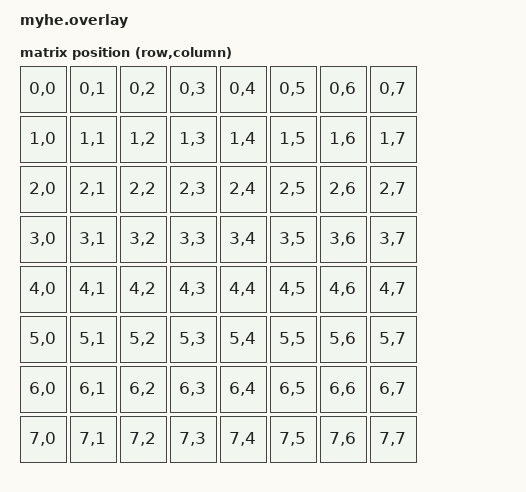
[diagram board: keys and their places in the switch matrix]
/*
* Copyright (c) 2025 Joomin97
*
* SPDX-License-Identifier: MIT
*/

#include <dt-bindings/zmk/matrix_transform.h>
#include <dt-bindings/input/input-event-codes.h>
#include <dt-bindings/pinctrl/rpi-pico-rp2040-pinctrl.h>

/ {
    chosen {
        zmk,kscan = &kscan0;
        zmk,matrix_transform = &default_transform;
    };

    default_transform: keymap_transform_0 {
        compatible = "zmk,matrix-transform";
        columns = <8>;
        rows = <8>;
        map = <
            RC(0,0) RC(0,1) RC(0,2) RC(0,3) RC(0,4) RC(0,5) RC(0,6) RC(0,7)
            RC(1,0) RC(1,1) RC(1,2) RC(1,3) RC(1,4) RC(1,5) RC(1,6) RC(1,7)
            RC(2,0) RC(2,1) RC(2,2) RC(2,3) RC(2,4) RC(2,5) RC(2,6) RC(2,7)
            RC(3,0) RC(3,1) RC(3,2) RC(3,3) RC(3,4) RC(3,5) RC(3,6) RC(3,7)
            RC(4,0) RC(4,1) RC(4,2) RC(4,3) RC(4,4) RC(4,5) RC(4,6) RC(4,7)
            RC(5,0) RC(5,1) RC(5,2) RC(5,3) RC(5,4) RC(5,5) RC(5,6) RC(5,7)
            RC(6,0) RC(6,1) RC(6,2) RC(6,3) RC(6,4) RC(6,5) RC(6,6) RC(6,7)
            RC(7,0) RC(7,1) RC(7,2) RC(7,3) RC(7,4) RC(7,5) RC(7,6) RC(7,7)            
        >;
    };

    mux_hc4067:hc4067 {
        compatible = "io-expander-mux";
        #address-cells = <1>;
        #size-cells = <0>;
        select-gpios = <&gpio0 0 GPIO_ACTIVE_HIGH>, //S0 -> GP0
                <&gpio0 1 GPIO_ACTIVE_HIGH>, //S1 -> GP1
                <&gpio0 2 GPIO_ACTIVE_HIGH>, //S2 -> GP2
                <&gpio0 3 GPIO_ACTIVE_HIGH>; //S3 -> GP3
    };

    adc_channels {
        compatible = "zmk,adc-channels";
        #address-cells = <1>;
        #size-cells = <0>;

        chan0:channel_0 {
            label = "ADC_0_MUX_0";
            zephyr.adc = <&adc>;
            zephyr.channel-id = <0>; //ADC0 -> GP26
        };
        chan1:channel_1 {
            label = "ADC_1_MUX_1";
            zephyr.adc = <&adc>;
            zephyr.channel-id = <1>; //ADC1 -> GP27
        };
        chan2:channel_2 {
            label = "ADC_2_MUX_2";
            zephyr.adc = <&adc>;
            zephyr.channel-id = <2>; //ADC2 -> GP28
        };
        chan3:channel_3 {
            label = "ADC_3_MUX_3";
            zephyr.adc = <&adc>;
            zephyr.channel-id = <3>; //ADC3 -> GP29
        };
    };

    kscan0:kscan {
        compatible = "zmk,kscan-gpio-matrix";
        trigger-level-mv = <1800>;

        r0c0 {mux = <&mux_hc4067 0>; channels = <&chan0>; row = <0>; col = <0>;};
        r0c1 {mux = <&mux_hc4067 1>; channels = <&chan0>; row = <0>; col = <1>;};
        r0c2 {mux = <&mux_hc4067 2>; channels = <&chan0>; row = <0>; col = <2>;};
        r0c3 {mux = <&mux_hc4067 3>; channels = <&chan0>; row = <0>; col = <3>;};
        r0c4 {mux = <&mux_hc4067 4>; channels = <&chan0>; row = <0>; col = <4>;};
        r0c5 {mux = <&mux_hc4067 5>; channels = <&chan0>; row = <0>; col = <5>;};
        r0c6 {mux = <&mux_hc4067 6>; channels = <&chan0>; row = <0>; col = <6>;};
        r0c7 {mux = <&mux_hc4067 7>; channels = <&chan0>; row = <0>; col = <7>;};
        r1c0 {mux = <&mux_hc4067 8>; channels = <&chan0>; row = <1>; col = <0>;};
        r1c1 {mux = <&mux_hc4067 9>; channels = <&chan0>; row = <1>; col = <1>;};
        r1c2 {mux = <&mux_hc4067 10>; channels = <&chan0>; row = <1>; col = <2>;};
        r1c3 {mux = <&mux_hc4067 11>; channels = <&chan0>; row = <1>; col = <3>;};
        r1c4 {mux = <&mux_hc4067 12>; channels = <&chan0>; row = <1>; col = <4>;};
        r1c5 {mux = <&mux_hc4067 13>; channels = <&chan0>; row = <1>; col = <5>;};
        r1c6 {mux = <&mux_hc4067 14>; channels = <&chan0>; row = <1>; col = <6>;};
        r1c7 {mux = <&mux_hc4067 15>; channels = <&chan0>; row = <1>; col = <7>;};

        r2c0 {mux = <&mux_hc4067 0>; channels = <&chan1>; row = <2>; col = <0>;};
        r2c1 {mux = <&mux_hc4067 1>; channels = <&chan1>; row = <2>; col = <1>;};
        r2c2 {mux = <&mux_hc4067 2>; channels = <&chan1>; row = <2>; col = <2>;};
        r2c3 {mux = <&mux_hc4067 3>; channels = <&chan1>; row = <2>; col = <3>;};
        r2c4 {mux = <&mux_hc4067 4>; channels = <&chan1>; row = <2>; col = <4>;};
        r2c5 {mux = <&mux_hc4067 5>; channels = <&chan1>; row = <2>; col = <5>;};
        r2c6 {mux = <&mux_hc4067 6>; channels = <&chan1>; row = <2>; col = <6>;};
        r2c7 {mux = <&mux_hc4067 7>; channels = <&chan1>; row = <2>; col = <7>;};
        r3c0 {mux = <&mux_hc4067 8>; channels = <&chan1>; row = <3>; col = <0>;};
        r3c1 {mux = <&mux_hc4067 9>; channels = <&chan1>; row = <3>; col = <1>;};
        r3c2 {mux = <&mux_hc4067 10>; channels = <&chan1>; row = <3>; col = <2>;};
        r3c3 {mux = <&mux_hc4067 11>; channels = <&chan1>; row = <3>; col = <3>;};
        r3c4 {mux = <&mux_hc4067 12>; channels = <&chan1>; row = <3>; col = <4>;};
        r3c5 {mux = <&mux_hc4067 13>; channels = <&chan1>; row = <3>; col = <5>;};
        r3c6 {mux = <&mux_hc4067 14>; channels = <&chan1>; row = <3>; col = <6>;};
        r3c7 {mux = <&mux_hc4067 15>; channels = <&chan1>; row = <3>; col = <7>;};

        r4c0 {mux = <&mux_hc4067 0>; channels = <&chan2>; row = <4>; col = <0>;};
        r4c1 {mux = <&mux_hc4067 1>; channels = <&chan2>; row = <4>; col = <1>;};
        r4c2 {mux = <&mux_hc4067 2>; channels = <&chan2>; row = <4>; col = <2>;};
        r4c3 {mux = <&mux_hc4067 3>; channels = <&chan2>; row = <4>; col = <3>;};
        r4c4 {mux = <&mux_hc4067 4>; channels = <&chan2>; row = <4>; col = <4>;};
        r4c5 {mux = <&mux_hc4067 5>; channels = <&chan2>; row = <4>; col = <5>;};
        r4c6 {mux = <&mux_hc4067 6>; channels = <&chan2>; row = <4>; col = <6>;};
        r4c7 {mux = <&mux_hc4067 7>; channels = <&chan2>; row = <4>; col = <7>;};
        r5c0 {mux = <&mux_hc4067 8>; channels = <&chan2>; row = <5>; col = <0>;};
        r5c1 {mux = <&mux_hc4067 9>; channels = <&chan2>; row = <5>; col = <1>;};
        r5c2 {mux = <&mux_hc4067 10>; channels = <&chan2>; row = <5>; col = <2>;};
        r5c3 {mux = <&mux_hc4067 11>; channels = <&chan2>; row = <5>; col = <3>;};
        r5c4 {mux = <&mux_hc4067 12>; channels = <&chan2>; row = <5>; col = <4>;};
        r5c5 {mux = <&mux_hc4067 13>; channels = <&chan2>; row = <5>; col = <5>;};
        r5c6 {mux = <&mux_hc4067 14>; channels = <&chan2>; row = <5>; col = <6>;};
        r5c7 {mux = <&mux_hc4067 15>; channels = <&chan2>; row = <5>; col = <7>;};

        r6c0 {mux = <&mux_hc4067 0>; channels = <&chan3>; row = <6>; col = <0>;};
        r6c1 {mux = <&mux_hc4067 1>; channels = <&chan3>; row = <6>; col = <1>;};
        r6c2 {mux = <&mux_hc4067 2>; channels = <&chan3>; row = <6>; col = <2>;};
        r6c3 {mux = <&mux_hc4067 3>; channels = <&chan3>; row = <6>; col = <3>;};
        r6c4 {mux = <&mux_hc4067 4>; channels = <&chan3>; row = <6>; col = <4>;};
        r6c5 {mux = <&mux_hc4067 5>; channels = <&chan3>; row = <6>; col = <5>;};
        r6c6 {mux = <&mux_hc4067 6>; channels = <&chan3>; row = <6>; col = <6>;};
        r6c7 {mux = <&mux_hc4067 7>; channels = <&chan3>; row = <6>; col = <7>;};
        r7c0 {mux = <&mux_hc4067 8>; channels = <&chan3>; row = <7>; col = <0>;};
        r7c1 {mux = <&mux_hc4067 9>; channels = <&chan3>; row = <7>; col = <1>;};
        r7c2 {mux = <&mux_hc4067 10>; channels = <&chan3>; row = <7>; col = <2>;};
        r7c3 {mux = <&mux_hc4067 11>; channels = <&chan3>; row = <7>; col = <3>;};
        r7c4 {mux = <&mux_hc4067 12>; channels = <&chan3>; row = <7>; col = <4>;};
        r7c5 {mux = <&mux_hc4067 13>; channels = <&chan3>; row = <7>; col = <5>;};
        r7c6 {mux = <&mux_hc4067 14>; channels = <&chan3>; row = <7>; col = <6>;};
        r7c7 {mux = <&mux_hc4067 15>; channels = <&chan3>; row = <3>; col = <7>;};

    };

    // &pinctrl {
    //     uart0_default: uart0_default {
    //         group1 {
    //             pinctrl-select = <0>;
    //             psels = <PINCTRL_PIN(8, UART0_TX)>,<PINCTRL_PIN(9,UART0_RX)>;
    //         }
    //     };
    // };
};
